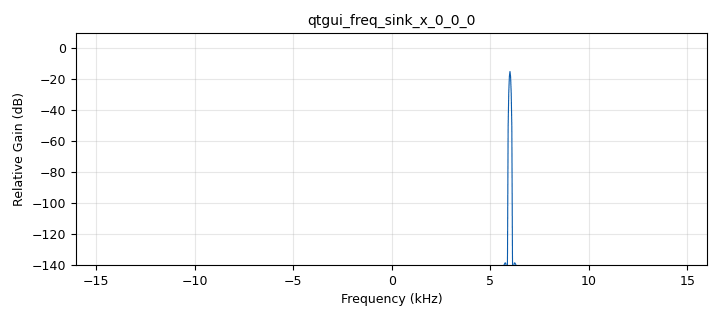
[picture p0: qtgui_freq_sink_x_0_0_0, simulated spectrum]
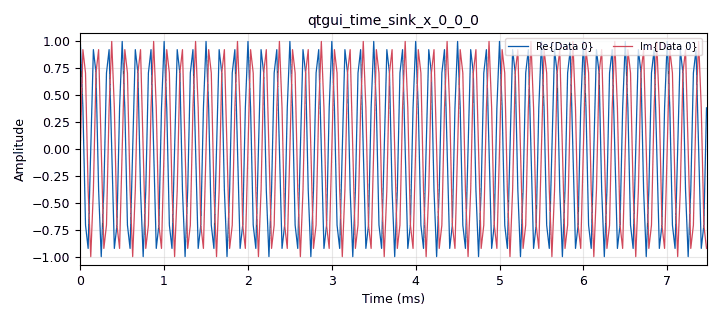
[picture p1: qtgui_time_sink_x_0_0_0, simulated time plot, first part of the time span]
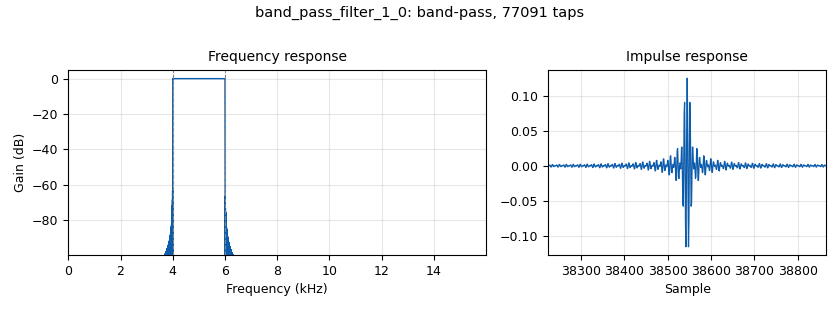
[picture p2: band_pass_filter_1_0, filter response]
options:
  parameters:
    author: santoshsoni
    generate_options: qt_gui
    id: dsbsc
    output_language: python
    title: Not titled yet
  states: {}

blocks:
- name: Ac
  id: variable
  parameters:
    value: '1'
  states: {}
- name: Am
  id: variable
  parameters:
    value: '1'
  states: {}
- name: fc
  id: variable
  parameters:
    value: '5000'
  states: {}
- name: fm
  id: variable
  parameters:
    value: '1000'
  states: {}
- name: samp_rate
  id: variable
  parameters:
    value: '32000'
  states: {}
- name: analog_sig_source_x_0
  id: analog_sig_source_x
  parameters:
    amp: Am
    freq: fm
    offset: '0'
    phase: '0'
    samp_rate: samp_rate
    type: complex
    waveform: analog.GR_COS_WAVE
  states: {state: disabled}
- name: analog_sig_source_x_0_0
  id: analog_sig_source_x
  parameters:
    amp: Am
    freq: fm
    offset: '0'
    phase: '0'
    samp_rate: samp_rate
    type: complex
    waveform: analog.GR_COS_WAVE
  states: {state: disabled}
- name: analog_sig_source_x_0_0_0
  id: analog_sig_source_x
  parameters:
    amp: Am
    freq: fm
    offset: '0'
    phase: '0'
    samp_rate: samp_rate
    type: complex
    waveform: analog.GR_COS_WAVE
  states: {}
- name: analog_sig_source_x_1
  id: analog_sig_source_x
  parameters:
    amp: Ac
    freq: fc
    offset: '0'
    phase: '0'
    samp_rate: samp_rate
    type: complex
    waveform: analog.GR_COS_WAVE
  states: {state: disabled}
- name: analog_sig_source_x_1_0
  id: analog_sig_source_x
  parameters:
    amp: Ac
    freq: fc
    offset: '0'
    phase: '0'
    samp_rate: samp_rate
    type: complex
    waveform: analog.GR_COS_WAVE
  states: {state: disabled}
- name: analog_sig_source_x_1_0_0
  id: analog_sig_source_x
  parameters:
    amp: Ac
    freq: fc
    offset: '0'
    phase: '0'
    samp_rate: samp_rate
    type: complex
    waveform: analog.GR_COS_WAVE
  states: {}
- name: band_pass_filter_0
  id: band_pass_filter
  parameters:
    decim: '1'
    gain: '1'
    high_cutoff_freq: '6500'
    low_cutoff_freq: '5500'
    samp_rate: samp_rate
    type: fir_filter_ccf
    width: '1'
    win: window.WIN_HAMMING
  states: {state: disabled}
- name: band_pass_filter_1
  id: band_pass_filter
  parameters:
    decim: '1'
    gain: '1'
    high_cutoff_freq: '4500'
    low_cutoff_freq: '3500'
    samp_rate: samp_rate
    type: fir_filter_ccf
    width: '1'
    win: window.WIN_HAMMING
  states: {state: disabled}
- name: band_pass_filter_1_0
  id: band_pass_filter
  parameters:
    decim: '1'
    gain: '1'
    high_cutoff_freq: '6000'
    low_cutoff_freq: '4000'
    samp_rate: samp_rate
    type: fir_filter_ccf
    width: '1'
    win: window.WIN_HAMMING
  states: {}
- name: blocks_multiply_xx_0
  id: blocks_multiply_xx
  parameters:
    type: complex
  states: {state: disabled}
- name: blocks_multiply_xx_0_0
  id: blocks_multiply_xx
  parameters:
    type: complex
  states: {state: disabled}
- name: blocks_multiply_xx_0_0_0
  id: blocks_multiply_xx
  parameters:
    type: complex
  states: {}
- name: qtgui_freq_sink_x_0
  id: qtgui_freq_sink_x
  parameters:
    bw: samp_rate
    fc: '0'
    fftsize: '1024'
    type: complex
  states: {state: disabled}
- name: qtgui_freq_sink_x_0_0
  id: qtgui_freq_sink_x
  parameters:
    bw: samp_rate
    fc: '0'
    fftsize: '1024'
    type: complex
  states: {state: disabled}
- name: qtgui_freq_sink_x_0_0_0
  id: qtgui_freq_sink_x
  parameters:
    bw: samp_rate
    fc: '0'
    fftsize: '1024'
    type: complex
  states: {}
- name: qtgui_time_sink_x_0
  id: qtgui_time_sink_x
  parameters:
    size: '1024'
    srate: samp_rate
    type: complex
  states: {state: disabled}
- name: qtgui_time_sink_x_0_0
  id: qtgui_time_sink_x
  parameters:
    size: '1024'
    srate: samp_rate
    type: complex
  states: {state: disabled}
- name: qtgui_time_sink_x_0_0_0
  id: qtgui_time_sink_x
  parameters:
    size: '1024'
    srate: samp_rate
    type: complex
  states: {}

connections:
- [analog_sig_source_x_0, '0', blocks_multiply_xx_0, '0']
- [analog_sig_source_x_0_0, '0', blocks_multiply_xx_0_0, '0']
- [analog_sig_source_x_0_0_0, '0', blocks_multiply_xx_0_0_0, '0']
- [analog_sig_source_x_1, '0', blocks_multiply_xx_0, '1']
- [analog_sig_source_x_1_0, '0', blocks_multiply_xx_0_0, '1']
- [analog_sig_source_x_1_0_0, '0', blocks_multiply_xx_0_0_0, '1']
- [band_pass_filter_0, '0', qtgui_freq_sink_x_0_0, '0']
- [band_pass_filter_1, '0', qtgui_freq_sink_x_0_0, '0']
- [band_pass_filter_1_0, '0', qtgui_freq_sink_x_0_0_0, '0']
- [blocks_multiply_xx_0, '0', qtgui_freq_sink_x_0, '0']
- [blocks_multiply_xx_0, '0', qtgui_time_sink_x_0, '0']
- [blocks_multiply_xx_0_0, '0', band_pass_filter_0, '0']
- [blocks_multiply_xx_0_0, '0', band_pass_filter_1, '0']
- [blocks_multiply_xx_0_0, '0', qtgui_time_sink_x_0_0, '0']
- [blocks_multiply_xx_0_0_0, '0', band_pass_filter_1_0, '0']
- [blocks_multiply_xx_0_0_0, '0', qtgui_time_sink_x_0_0_0, '0']

metadata:
  file_format: 1
  grc_version: 3.10.12.0
